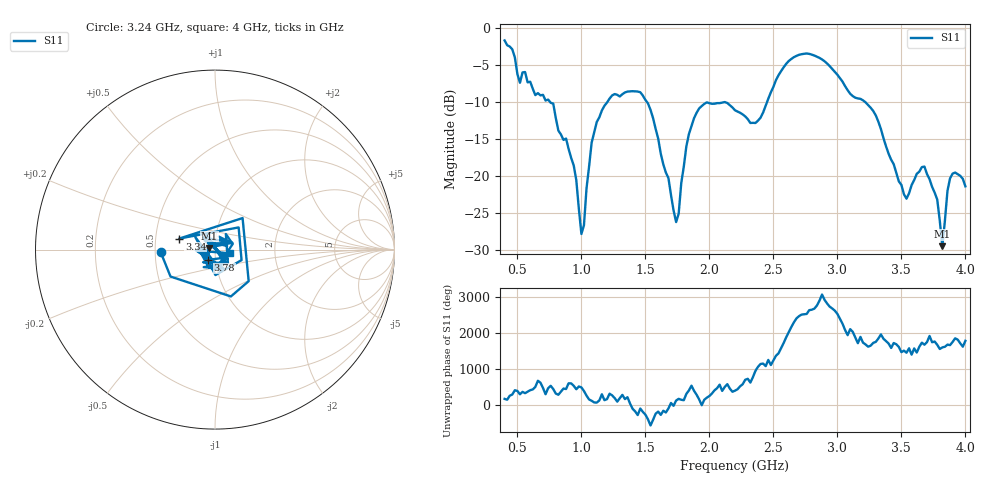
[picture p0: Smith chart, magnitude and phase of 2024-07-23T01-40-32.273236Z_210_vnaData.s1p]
!Created with skrf (http://scikit-rf.org).
# Hz S RI R 50.0
!freq ReS11 ImS11
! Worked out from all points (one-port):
!   181 points, 400 MHz to 4 GHz, reference 50 ohm
!   lowest |S11| = -29.4 dB at 3.82 GHz (marker M1), VSWR 1.07, Z = 46.9 + j0.899 ohm
!   |S11| at or under -10 dB: 755.9 MHz to 1.202 GHz (446.4 MHz wide, 45.6 % of centre); 1.513 GHz to 2.118 GHz (605.2 MHz wide, 33.3 % of centre); 3.218 GHz to end of sweep (the widest 3 of 4)
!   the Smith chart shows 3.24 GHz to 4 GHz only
!   S11 on the Smith chart (normalised r, x): 3.24 GHz: 0.54, -0.02; 3.34 GHz: 0.66, +0.09; 3.78 GHz: 0.92, -0.11; 4 GHz: 1.18, -0.05
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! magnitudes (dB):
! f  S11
! 400 MHz  -1.7
! 520 MHz  -7.4
! 780 MHz  -10.2
! 860 MHz  -15.1
! 940 MHz  -18.5
! 1 GHz  -27.8
! 1.02 GHz  -26.6
! 1.08 GHz  -15.5
! 1.12 GHz  -12.7
! 1.3 GHz  -9.2
! 1.52 GHz  -10.2
! 1.74 GHz  -26.2
! 1.76 GHz  -25.1
! 1.82 GHz  -16.0
! 1.9 GHz  -11.4
! 2.2 GHz  -11.1
! 2.36 GHz  -12.8
! 2.66 GHz  -3.9
! 2.88 GHz  -4.2
! 3.1 GHz  -8.9
! 3.24 GHz  -10.4
! 3.34 GHz  -13.6
! 3.56 GHz  -22.3
! 3.68 GHz  -18.7
! 3.78 GHz  -23.1
! 3.82 GHz  -29.4
! 3.88 GHz  -20.3
! 4 GHz  -21.4
